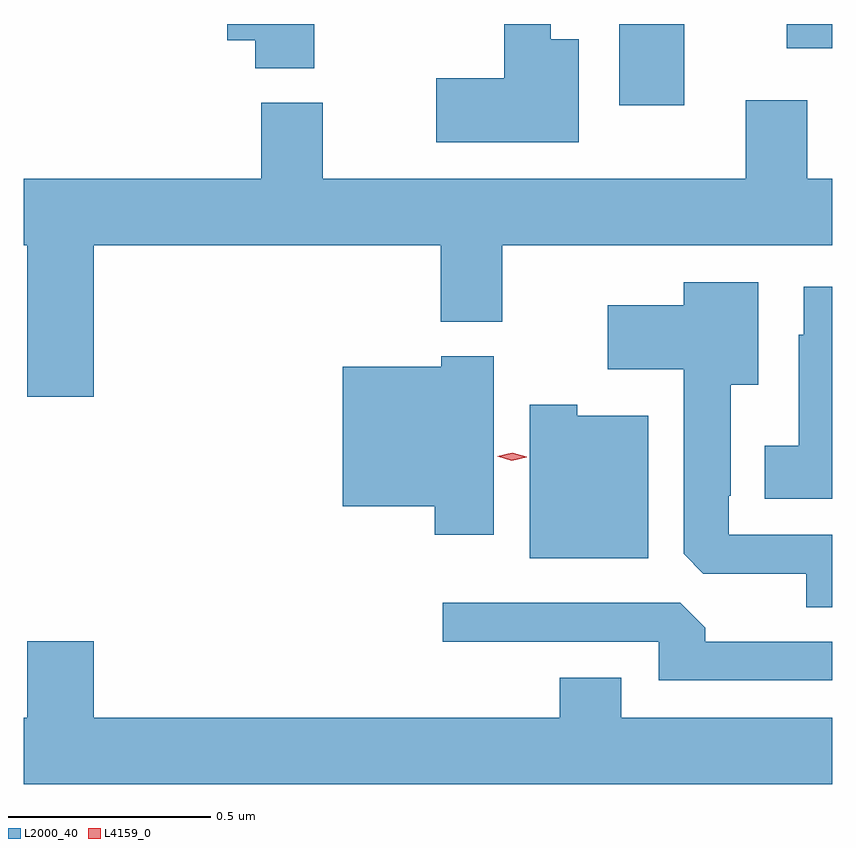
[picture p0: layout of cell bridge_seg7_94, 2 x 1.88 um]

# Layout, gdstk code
import gdstk
lib = gdstk.Library(unit=1e-6, precision=1e-09)
def R(c, l, rs):  # rectangles x0, y0, x1, y1
    for r in rs: c.add(gdstk.rectangle(r[:2], r[2:], *l))
def P(c, l, *ps):  # polygons
    for p in ps: c.add(gdstk.Polygon(p, *l))
L2000_40 = (2000, 40)
L4159_0 = (4159, 0)

bridge_seg7_94 = lib.new_cell('bridge_seg7_94')
R(bridge_seg7_94, L2000_40, [(1089.548,1002.294,1089.709,1002.495), (1089.962,1002.435,1090.075,1002.495)])
P(bridge_seg7_94, L2000_40, [(1088.794,1002.495),(1088.579,1002.495),(1088.579,1002.455),(1088.648,1002.455),(1088.648,1002.385),(1088.794,1002.385)],
  [(1089.448,1002.457),(1089.379,1002.457),(1089.379,1002.495),(1089.263,1002.495),(1089.263,1002.361),(1089.096,1002.361),(1089.096,1002.203),(1089.448,1002.203)],
  [(1088.248,1001.948),(1089.107,1001.948),(1089.107,1001.759),(1089.259,1001.759),(1089.259,1001.948),(1090.075,1001.948),(1090.075,1002.112),(1090.013,1002.112),(1090.013,1002.307),(1089.86,1002.307),(1089.86,1002.112),(1088.815,1002.112),(1088.815,1002.3),(1088.663,1002.3),(1088.663,1002.112),(1088.075,1002.112),(1088.075,1001.948),(1088.084,1001.948),(1088.084,1001.574),(1088.248,1001.574)],
  [(1090.075,1001.232),(1089.819,1001.232),(1089.819,1001.329),(1089.823,1001.329),(1089.823,1001.603),(1089.892,1001.603),(1089.892,1001.857),(1089.707,1001.857),(1089.707,1001.8),(1089.519,1001.8),(1089.519,1001.642),(1089.707,1001.642),(1089.707,1001.185),(1089.756,1001.136),(1090.01,1001.136),(1090.01,1001.053),(1090.075,1001.053)],
  [(1090.075,1001.845),(1090.004,1001.845),(1090.004,1001.727),(1089.992,1001.727),(1089.992,1001.452),(1089.908,1001.452),(1089.908,1001.321),(1090.075,1001.321)],
  [(1089.238,1001.674),(1089.108,1001.674),(1089.108,1001.647),(1088.864,1001.647),(1088.864,1001.303),(1089.092,1001.303),(1089.092,1001.232),(1089.238,1001.232)],
  [(1089.619,1001.527),(1089.444,1001.527),(1089.444,1001.554),(1089.326,1001.554),(1089.326,1001.174),(1089.619,1001.174)],
  [(1090.075,1000.968),(1089.761,1000.968),(1089.761,1001.002),(1089.699,1001.064),(1089.111,1001.064),(1089.111,1000.968),(1089.645,1000.968),(1089.645,1000.872),(1090.075,1000.872)],
  [(1090.075,1000.78),(1089.553,1000.78),(1089.553,1000.879),(1089.401,1000.879),(1089.401,1000.78),(1088.248,1000.78),(1088.248,1000.969),(1088.084,1000.969),(1088.084,1000.78),(1088.075,1000.78),(1088.075,1000.616),(1090.075,1000.616)])
P(bridge_seg7_94, L4159_0, [(1089.282,1001.415),(1089.246,1001.426),(1089.246,1001.426),(1089.246,1001.426),(1089.283,1001.435),(1089.319,1001.425),(1089.319,1001.424),(1089.319,1001.424)])

lib.write_gds('bridge_seg7_94.gds')
